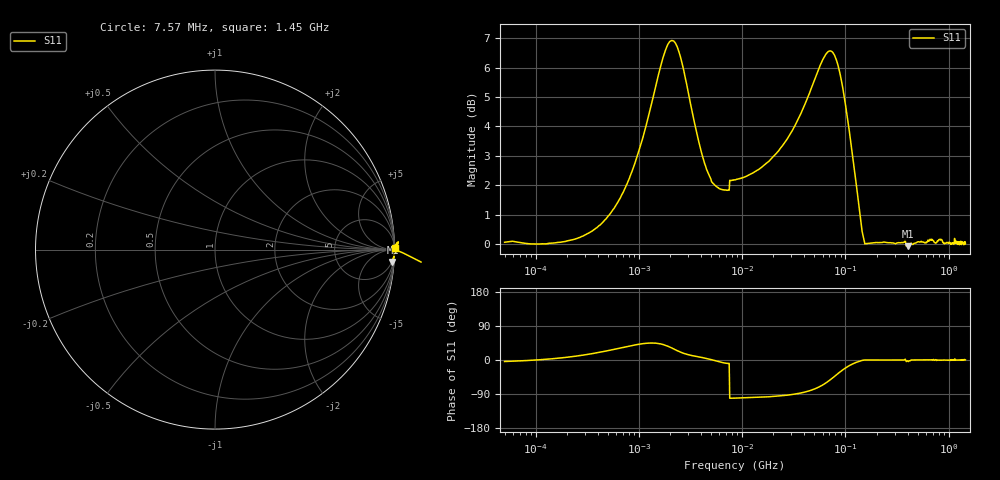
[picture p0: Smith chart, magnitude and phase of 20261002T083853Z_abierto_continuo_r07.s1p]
! piloto_saltos / abierto_continuo / r07
# HZ S RI R 50
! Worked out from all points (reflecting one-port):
!   501 points, 50 kHz to 1.45 GHz, reference 50 ohm
!   lowest |S11| = -0.1 dB at 406 MHz (marker M1), VSWR 229.64, Z = 174 - j1.4e+03 ohm
!   phase of S11 starts at -4 deg and turns +4 deg over the sweep
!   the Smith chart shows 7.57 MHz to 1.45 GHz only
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50000  1.004 -0.0701
183000  1.003 0.1055
373000  1.008 0.328
658000  1.019 0.626
1180000  1.146 1.111
1630000  1.487 1.356
1990000  1.829 1.241
2440000  1.959 0.8151
2890000  1.808 0.4914
3430000  1.588 0.2939
4960000  1.291 0.0298
7300000  1.22 -0.1936
7750000  -0.2418 -1.26
8560000  -0.2352 -1.264
1.72e7  -0.1753 -1.361
3.16e7  -0.0109 -1.577
4.69e7  0.3401 -1.812
5.68e7  0.6976 -1.886
6.49e7  1.046 -1.827
7.39e7  1.4 -1.598
8.65e7  1.651 -1.099
9.82e7  1.627 -0.6736
1e8  1.61 -0.6216
1.18e8  1.377 -0.2438
1.36e8  1.148 -0.0693
1.63e8  1.002 -0.000959
4.06e8  0.9889 -0.0695
1.45e9  1.002 0.00765
